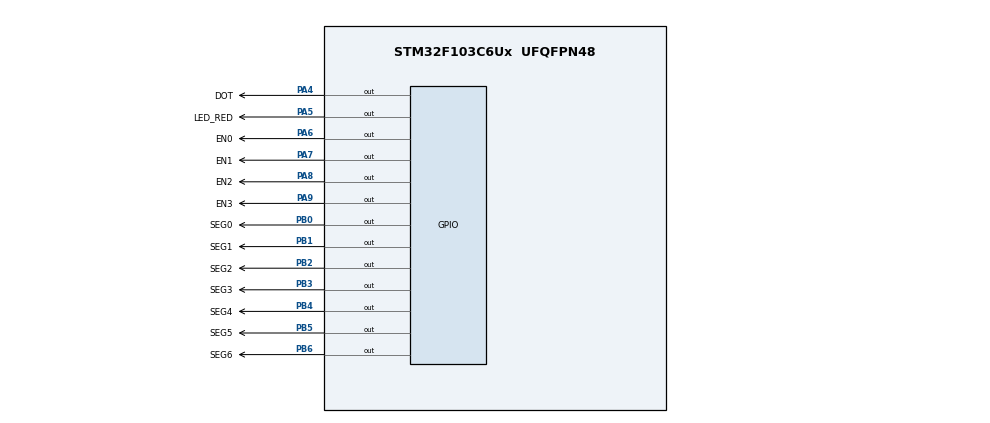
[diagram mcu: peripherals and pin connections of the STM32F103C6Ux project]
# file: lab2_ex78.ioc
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Mcu.Family=STM32F1
Mcu.Name=STM32F103C6Ux
Mcu.Package=UFQFPN48
NVIC.PriorityGroup=NVIC_PRIORITYGROUP_4
NVIC.TIM2_IRQn=true\:0\:0\:false\:false\:true\:true\:true\:true
PA13.Mode=Serial_Wire
PA13.Signal=SYS_JTMS-SWDIO
PA14.Mode=Serial_Wire
PA14.Signal=SYS_JTCK-SWCLK
PA4.GPIO_Label=DOT
PA4.Signal=GPIO_Output
PA5.GPIO_Label=LED_RED
PA5.Signal=GPIO_Output
PA6.GPIO_Label=EN0
PA6.Signal=GPIO_Output
PA7.GPIO_Label=EN1
PA7.Signal=GPIO_Output
PA8.GPIO_Label=EN2
PA8.Signal=GPIO_Output
PA9.GPIO_Label=EN3
PA9.Signal=GPIO_Output
PB0.GPIO_Label=SEG0
PB0.Signal=GPIO_Output
PB1.GPIO_Label=SEG1
PB1.Signal=GPIO_Output
PB2.GPIO_Label=SEG2
PB2.Signal=GPIO_Output
PB3.GPIO_Label=SEG3
PB3.Signal=GPIO_Output
PB4.GPIO_Label=SEG4
PB4.Signal=GPIO_Output
PB5.GPIO_Label=SEG5
PB5.Signal=GPIO_Output
PB6.GPIO_Label=SEG6
PB6.Signal=GPIO_Output
ProjectManager.HeapSize=0x200
ProjectManager.StackSize=0x400
ProjectManager.TargetToolchain=STM32CubeIDE
RCC.APB1Freq_Value=8000000
RCC.APB2Freq_Value=8000000
TIM2.Period=9
TIM2.Prescaler=7999
VP_TIM2_VS_ClockSourceINT.Mode=Internal
board=custom

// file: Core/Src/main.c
/* USER CODE BEGIN Header */
/**
  ******************************************************************************
  * @file           : main.c
  * @brief          : Main program body
  ******************************************************************************
  * @attention
  *
  * Copyright (c) 2025 STMicroelectronics.
  * All rights reserved.
  *
  * This software is licensed under terms that can be found in the LICENSE file
  * in the root directory of this software component.
  * If no LICENSE file comes with this software, it is provided AS-IS.
  *
  ******************************************************************************
  */
/* USER CODE END Header */
#include "main.h"

/* USER CODE BEGIN Includes */
#include "software_timer.h"
/* USER CODE END Includes */

TIM_HandleTypeDef htim2;

/* USER CODE BEGIN PV */
int led_counter = 100;
int seg_counter = 50;
int active_digit = 0;
const int MAX_LED = 4;
int index_led = 0;
int led_buffer [4] = {9 , 4 , 7 , 5};
int hour = 15, minute = 8, second = 50;
/* USER CODE END PV */

void SystemClock_Config(void);
static void MX_GPIO_Init(void);
static void MX_TIM2_Init(void);
/* USER CODE BEGIN PFP */
void display7SEG(int);
void update7SEG(int);
void updateClockBuffer();

/* USER CODE END PFP */

/* USER CODE BEGIN 0 */
int timer0_counter = 0;
int timer0_flag = 0;
int TIMER_CYCLE = 10;
void setTimer0(int duration){
	timer0_counter = duration /TIMER_CYCLE;
	timer0_flag = 0;
}
void timer_run(){
	if(timer0_counter > 0){
		timer0_counter--;
		if(timer0_counter == 0) timer0_flag = 1;
	}
}
/* USER CODE END 0 */

int main(void)
{

  /* MCU Configuration--------------------------------------------------------*/

  /* Reset of all peripherals, Initializes the Flash interface and the Systick. */
  HAL_Init();

  /* Configure the system clock */
  SystemClock_Config();

  /* Initialize all configured peripherals */
  MX_GPIO_Init();
  MX_TIM2_Init();
  /* USER CODE BEGIN 2 */
  HAL_TIM_Base_Start_IT(&htim2);
  HAL_GPIO_WritePin(GPIOA, LED_RED_Pin, GPIO_PIN_RESET);
  HAL_GPIO_WritePin(GPIOA, DOT_Pin, GPIO_PIN_RESET);
  /* USER CODE END 2 */

  /* Infinite loop */
  /* USER CODE BEGIN WHILE */
  setTimer0(1000);
  int timer_led = 100;
  int timer_dot = 50;
  int timer_clock = 100;
  int timer_seg = 10;
  while (1) {

	  if (timer_led <= 0){
		  HAL_GPIO_TogglePin(GPIOA, LED_RED_Pin);
		  timer_led = 100;
	  }

	  if (timer_dot <= 0){
		  HAL_GPIO_TogglePin(GPIOA, DOT_Pin);
		  timer_dot = 50;
	  }

	  if (timer_clock <= 0){
		  second++;
		  if (second >= 60){
			  second = 0;
			  minute++;
			  if (minute >= 60){
				  minute = 0;
				  hour++;
				  if (hour >= 24) hour = 0;
			  }
		  }
		  updateClockBuffer();
		  timer_clock = 100;
	  }

	  if (timer_seg <= 0){
		  update7SEG(index_led++);
		  if (index_led >= MAX_LED) index_led = 0;
		  timer_seg = 10;
	  }

	  if (timer0_flag == 1){
		  timer_led--;
		  timer_dot--;
		  timer_clock--;
		  timer_seg--;
		  setTimer0(10);
	  }

    /* USER CODE END WHILE */

  }
}

void SystemClock_Config(void)
{
  RCC_OscInitTypeDef RCC_OscInitStruct = {0};
  RCC_ClkInitTypeDef RCC_ClkInitStruct = {0};

  /** Initializes the RCC Oscillators according to the specified parameters
  * in the RCC_OscInitTypeDef structure.
  */
  RCC_OscInitStruct.OscillatorType = RCC_OSCILLATORTYPE_HSI;
  RCC_OscInitStruct.HSIState = RCC_HSI_ON;
  RCC_OscInitStruct.HSICalibrationValue = RCC_HSICALIBRATION_DEFAULT;
  RCC_OscInitStruct.PLL.PLLState = RCC_PLL_NONE;
  if (HAL_RCC_OscConfig(&RCC_OscInitStruct) != HAL_OK)
  {
    Error_Handler();
  }

  /** Initializes the CPU, AHB and APB buses clocks
  */
  RCC_ClkInitStruct.ClockType = RCC_CLOCKTYPE_HCLK|RCC_CLOCKTYPE_SYSCLK
                              |RCC_CLOCKTYPE_PCLK1|RCC_CLOCKTYPE_PCLK2;
  RCC_ClkInitStruct.SYSCLKSource = RCC_SYSCLKSOURCE_HSI;
  RCC_ClkInitStruct.AHBCLKDivider = RCC_SYSCLK_DIV1;
  RCC_ClkInitStruct.APB1CLKDivider = RCC_HCLK_DIV1;
  RCC_ClkInitStruct.APB2CLKDivider = RCC_HCLK_DIV1;

  if (HAL_RCC_ClockConfig(&RCC_ClkInitStruct, FLASH_LATENCY_0) != HAL_OK)
  {
    Error_Handler();
  }
}

static void MX_TIM2_Init(void)
{

  TIM_ClockConfigTypeDef sClockSourceConfig = {0};
  TIM_MasterConfigTypeDef sMasterConfig = {0};

  htim2.Instance = TIM2;
  htim2.Init.Prescaler = 7999;
  htim2.Init.CounterMode = TIM_COUNTERMODE_UP;
  htim2.Init.Period = 9;
  htim2.Init.ClockDivision = TIM_CLOCKDIVISION_DIV1;
  htim2.Init.AutoReloadPreload = TIM_AUTORELOAD_PRELOAD_DISABLE;
  if (HAL_TIM_Base_Init(&htim2) != HAL_OK)
  {
    Error_Handler();
  }
  sClockSourceConfig.ClockSource = TIM_CLOCKSOURCE_INTERNAL;
  if (HAL_TIM_ConfigClockSource(&htim2, &sClockSourceConfig) != HAL_OK)
  {
    Error_Handler();
  }
  sMasterConfig.MasterOutputTrigger = TIM_TRGO_RESET;
  sMasterConfig.MasterSlaveMode = TIM_MASTERSLAVEMODE_DISABLE;
  if (HAL_TIMEx_MasterConfigSynchronization(&htim2, &sMasterConfig) != HAL_OK)
  {
    Error_Handler();
  }

}

static void MX_GPIO_Init(void)
{
  GPIO_InitTypeDef GPIO_InitStruct = {0};

  /* GPIO Ports Clock Enable */
  __HAL_RCC_GPIOA_CLK_ENABLE();
  __HAL_RCC_GPIOB_CLK_ENABLE();

  /*Configure GPIO pin Output Level */
  HAL_GPIO_WritePin(GPIOA, DOT_Pin|LED_RED_Pin|EN0_Pin|EN1_Pin
                          |EN2_Pin|EN3_Pin, GPIO_PIN_RESET);

  /*Configure GPIO pin Output Level */
  HAL_GPIO_WritePin(GPIOB, SEG0_Pin|SEG1_Pin|SEG2_Pin|SEG3_Pin
                          |SEG4_Pin|SEG5_Pin|SEG6_Pin, GPIO_PIN_RESET);

  /*Configure GPIO pins : DOT_Pin LED_RED_Pin EN0_Pin EN1_Pin
                           EN2_Pin EN3_Pin */
  GPIO_InitStruct.Pin = DOT_Pin|LED_RED_Pin|EN0_Pin|EN1_Pin
                          |EN2_Pin|EN3_Pin;
  GPIO_InitStruct.Mode = GPIO_MODE_OUTPUT_PP;
  GPIO_InitStruct.Pull = GPIO_NOPULL;
  GPIO_InitStruct.Speed = GPIO_SPEED_FREQ_LOW;
  HAL_GPIO_Init(GPIOA, &GPIO_InitStruct);

  /*Configure GPIO pins : SEG0_Pin SEG1_Pin SEG2_Pin SEG3_Pin
                           SEG4_Pin SEG5_Pin SEG6_Pin */
  GPIO_InitStruct.Pin = SEG0_Pin|SEG1_Pin|SEG2_Pin|SEG3_Pin
                          |SEG4_Pin|SEG5_Pin|SEG6_Pin;
  GPIO_InitStruct.Mode = GPIO_MODE_OUTPUT_PP;
  GPIO_InitStruct.Pull = GPIO_NOPULL;
  GPIO_InitStruct.Speed = GPIO_SPEED_FREQ_LOW;
  HAL_GPIO_Init(GPIOB, &GPIO_InitStruct);

}

/* USER CODE BEGIN 4 */
void HAL_TIM_PeriodElapsedCallback(TIM_HandleTypeDef *htim) {
	timer_run();
}
void display7SEG(int num) {
    switch(num) {
        case 0:
            HAL_GPIO_WritePin(GPIOB, SEG0_Pin, GPIO_PIN_RESET);
            HAL_GPIO_WritePin(GPIOB, SEG1_Pin, GPIO_PIN_RESET);
            HAL_GPIO_WritePin(GPIOB, SEG2_Pin, GPIO_PIN_RESET);
            HAL_GPIO_WritePin(GPIOB, SEG3_Pin, GPIO_PIN_RESET);
            HAL_GPIO_WritePin(GPIOB, SEG4_Pin, GPIO_PIN_RESET);
            HAL_GPIO_WritePin(GPIOB, SEG5_Pin, GPIO_PIN_RESET);
            HAL_GPIO_WritePin(GPIOB, SEG6_Pin, GPIO_PIN_SET);
            break;

        case 1:
            HAL_GPIO_WritePin(GPIOB, SEG0_Pin, GPIO_PIN_SET);
            HAL_GPIO_WritePin(GPIOB, SEG1_Pin, GPIO_PIN_RESET);
            HAL_GPIO_WritePin(GPIOB, SEG2_Pin, GPIO_PIN_RESET);
            HAL_GPIO_WritePin(GPIOB, SEG3_Pin, GPIO_PIN_SET);
            HAL_GPIO_WritePin(GPIOB, SEG4_Pin, GPIO_PIN_SET);
            HAL_GPIO_WritePin(GPIOB, SEG5_Pin, GPIO_PIN_SET);
            HAL_GPIO_WritePin(GPIOB, SEG6_Pin, GPIO_PIN_SET);
            break;

        case 2:
            HAL_GPIO_WritePin(GPIOB, SEG0_Pin, GPIO_PIN_RESET);
            HAL_GPIO_WritePin(GPIOB, SEG1_Pin, GPIO_PIN_RESET);
            HAL_GPIO_WritePin(GPIOB, SEG2_Pin, GPIO_PIN_SET);
            HAL_GPIO_WritePin(GPIOB, SEG3_Pin, GPIO_PIN_RESET);
            HAL_GPIO_WritePin(GPIOB, SEG4_Pin, GPIO_PIN_RESET);
            HAL_GPIO_WritePin(GPIOB, SEG5_Pin, GPIO_PIN_SET);
            HAL_GPIO_WritePin(GPIOB, SEG6_Pin, GPIO_PIN_RESET);
            break;

        case 3:
            HAL_GPIO_WritePin(GPIOB, SEG0_Pin, GPIO_PIN_RESET);
            HAL_GPIO_WritePin(GPIOB, SEG1_Pin, GPIO_PIN_RESET);
            HAL_GPIO_WritePin(GPIOB, SEG2_Pin, GPIO_PIN_RESET);
            HAL_GPIO_WritePin(GPIOB, SEG3_Pin, GPIO_PIN_RESET);
            HAL_GPIO_WritePin(GPIOB, SEG4_Pin, GPIO_PIN_SET);
            HAL_GPIO_WritePin(GPIOB, SEG5_Pin, GPIO_PIN_SET);
            HAL_GPIO_WritePin(GPIOB, SEG6_Pin, GPIO_PIN_RESET);
            break;

        case 4:
            HAL_GPIO_WritePin(GPIOB, SEG0_Pin, GPIO_PIN_SET);
            HAL_GPIO_WritePin(GPIOB, SEG1_Pin, GPIO_PIN_RESET);
            HAL_GPIO_WritePin(GPIOB, SEG2_Pin, GPIO_PIN_RESET);
            HAL_GPIO_WritePin(GPIOB, SEG3_Pin, GPIO_PIN_SET);
            HAL_GPIO_WritePin(GPIOB, SEG4_Pin, GPIO_PIN_SET);
            HAL_GPIO_WritePin(GPIOB, SEG5_Pin, GPIO_PIN_RESET);
            HAL_GPIO_WritePin(GPIOB, SEG6_Pin, GPIO_PIN_RESET);
            break;

        case 5:
            HAL_GPIO_WritePin(GPIOB, SEG0_Pin, GPIO_PIN_RESET);
            HAL_GPIO_WritePin(GPIOB, SEG1_Pin, GPIO_PIN_SET);
            HAL_GPIO_WritePin(GPIOB, SEG2_Pin, GPIO_PIN_RESET);
            HAL_GPIO_WritePin(GPIOB, SEG3_Pin, GPIO_PIN_RESET);
            HAL_GPIO_WritePin(GPIOB, SEG4_Pin, GPIO_PIN_SET);
            HAL_GPIO_WritePin(GPIOB, SEG5_Pin, GPIO_PIN_RESET);
            HAL_GPIO_WritePin(GPIOB, SEG6_Pin, GPIO_PIN_RESET);
            break;

        case 6:
            HAL_GPIO_WritePin(GPIOB, SEG0_Pin, GPIO_PIN_RESET);
            HAL_GPIO_WritePin(GPIOB, SEG1_Pin, GPIO_PIN_SET);
            HAL_GPIO_WritePin(GPIOB, SEG2_Pin, GPIO_PIN_RESET);
            HAL_GPIO_WritePin(GPIOB, SEG3_Pin, GPIO_PIN_RESET);
            HAL_GPIO_WritePin(GPIOB, SEG4_Pin, GPIO_PIN_RESET);
            HAL_GPIO_WritePin(GPIOB, SEG5_Pin, GPIO_PIN_RESET);
            HAL_GPIO_WritePin(GPIOB, SEG6_Pin, GPIO_PIN_RESET);
            break;

        case 7:
            HAL_GPIO_WritePin(GPIOB, SEG0_Pin, GPIO_PIN_RESET);
            HAL_GPIO_WritePin(GPIOB, SEG1_Pin, GPIO_PIN_RESET);
            HAL_GPIO_WritePin(GPIOB, SEG2_Pin, GPIO_PIN_RESET);
            HAL_GPIO_WritePin(GPIOB, SEG3_Pin, GPIO_PIN_SET);
            HAL_GPIO_WritePin(GPIOB, SEG4_Pin, GPIO_PIN_SET);
            HAL_GPIO_WritePin(GPIOB, SEG5_Pin, GPIO_PIN_SET);
            HAL_GPIO_WritePin(GPIOB, SEG6_Pin, GPIO_PIN_SET);
            break;

        case 8:
            HAL_GPIO_WritePin(GPIOB, SEG0_Pin, GPIO_PIN_RESET);
            HAL_GPIO_WritePin(GPIOB, SEG1_Pin, GPIO_PIN_RESET);
            HAL_GPIO_WritePin(GPIOB, SEG2_Pin, GPIO_PIN_RESET);
            HAL_GPIO_WritePin(GPIOB, SEG3_Pin, GPIO_PIN_RESET);
            HAL_GPIO_WritePin(GPIOB, SEG4_Pin, GPIO_PIN_RESET);
            HAL_GPIO_WritePin(GPIOB, SEG5_Pin, GPIO_PIN_RESET);
            HAL_GPIO_WritePin(GPIOB, SEG6_Pin, GPIO_PIN_RESET);
            break;

        case 9:
            HAL_GPIO_WritePin(GPIOB, SEG0_Pin, GPIO_PIN_RESET);
            HAL_GPIO_WritePin(GPIOB, SEG1_Pin, GPIO_PIN_RESET);
            HAL_GPIO_WritePin(GPIOB, SEG2_Pin, GPIO_PIN_RESET);
            HAL_GPIO_WritePin(GPIOB, SEG3_Pin, GPIO_PIN_RESET);
            HAL_GPIO_WritePin(GPIOB, SEG4_Pin, GPIO_PIN_SET);
            HAL_GPIO_WritePin(GPIOB, SEG5_Pin, GPIO_PIN_RESET);
            HAL_GPIO_WritePin(GPIOB, SEG6_Pin, GPIO_PIN_RESET);
            break;

        default:
            HAL_GPIO_WritePin(GPIOB, SEG0_Pin, GPIO_PIN_SET);
            HAL_GPIO_WritePin(GPIOB, SEG1_Pin, GPIO_PIN_SET);
            HAL_GPIO_WritePin(GPIOB, SEG2_Pin, GPIO_PIN_SET);
            HAL_GPIO_WritePin(GPIOB, SEG3_Pin, GPIO_PIN_SET);
            HAL_GPIO_WritePin(GPIOB, SEG4_Pin, GPIO_PIN_SET);
            HAL_GPIO_WritePin(GPIOB, SEG5_Pin, GPIO_PIN_SET);
            HAL_GPIO_WritePin(GPIOB, SEG6_Pin, GPIO_PIN_SET);
            break;
    }
}

void update7SEG(int index) {
    switch (index) {
        case 0:
            HAL_GPIO_WritePin(GPIOA, EN0_Pin, GPIO_PIN_RESET);
            HAL_GPIO_WritePin(GPIOA, EN1_Pin|EN2_Pin|EN3_Pin, GPIO_PIN_SET);
            display7SEG(led_buffer[0]);
            break;

        case 1:
            HAL_GPIO_WritePin(GPIOA, EN1_Pin, GPIO_PIN_RESET);
            HAL_GPIO_WritePin(GPIOA, EN0_Pin|EN2_Pin|EN3_Pin, GPIO_PIN_SET);
            display7SEG(led_buffer[1]);
            break;

        case 2:
            HAL_GPIO_WritePin(GPIOA, EN2_Pin, GPIO_PIN_RESET);
            HAL_GPIO_WritePin(GPIOA, EN0_Pin|EN1_Pin|EN3_Pin, GPIO_PIN_SET);
            display7SEG(led_buffer[2]);
            break;

        case 3:
            HAL_GPIO_WritePin(GPIOA, EN3_Pin, GPIO_PIN_RESET);
            HAL_GPIO_WritePin(GPIOA, EN0_Pin|EN1_Pin|EN2_Pin, GPIO_PIN_SET);
            display7SEG(led_buffer[3]);
            break;

        default:
            break;
    }
}

void updateClockBuffer(){
	led_buffer[0] = hour / 10;
	led_buffer[1] = hour % 10;
	led_buffer[2] = minute / 10;
	led_buffer[3] = minute % 10;
}
/* USER CODE END 4 */

void Error_Handler(void)
{
  __disable_irq();
  while (1)
  {
  }
}
